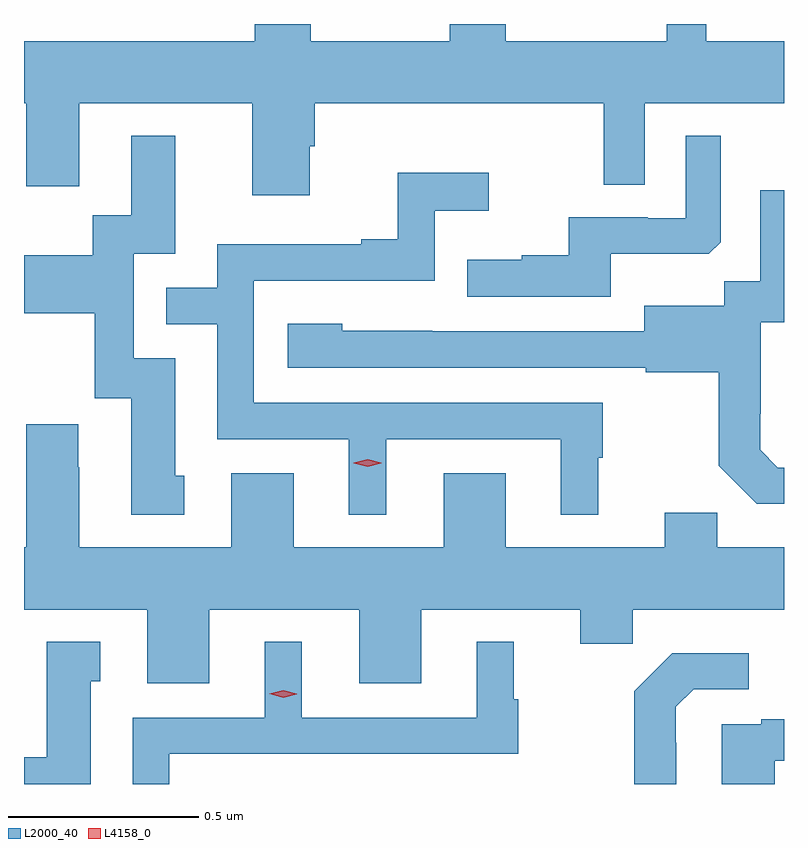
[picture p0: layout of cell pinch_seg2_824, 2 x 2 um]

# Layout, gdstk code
import gdstk
lib = gdstk.Library(unit=1e-6, precision=1e-09)
def P(c, l, *ps):  # polygons
    for p in ps: c.add(gdstk.Polygon(p, *l))
L2000_40 = (2000, 40)
L4158_0 = (4158, 0)

pinch_seg2_824 = lib.new_cell('pinch_seg2_824')
P(pinch_seg2_824, L2000_40, [(685.489,616.887),(685.502,616.887),(685.502,617),(686.262,617),(686.262,616.786),(686.37,616.786),(686.37,617),(686.737,617),(686.737,617.164),(686.533,617.164),(686.533,617.209),(686.429,617.209),(686.429,617.164),(686.005,617.164),(686.005,617.209),(685.858,617.209),(685.858,617.164),(685.491,617.164),(685.491,617.209),(685.344,617.209),(685.344,617.164),(684.737,617.164),(684.737,617),(684.743,617),(684.743,616.782),(684.883,616.782),(684.883,617),(685.337,617),(685.337,616.758),(685.489,616.758)],
  [(686.281,616.604),(686.539,616.604),(686.571,616.635),(686.571,616.915),(686.478,616.915),(686.478,616.698),(686.378,616.698),(686.378,616.701),(686.171,616.701),(686.171,616.6),(686.047,616.6),(686.047,616.588),(685.903,616.588),(685.903,616.491),(686.281,616.491)],
  [(685.159,616.02),(685.135,616.02),(685.135,616.329),(685.026,616.329),(685.026,616.605),(685.135,616.605),(685.135,616.915),(685.019,616.915),(685.019,616.706),(684.918,616.706),(684.918,616.6),(684.737,616.6),(684.737,616.448),(684.923,616.448),(684.923,616.224),(685.019,616.224),(685.019,615.918),(685.159,615.918)],
  [(685.69,616.116),(686.15,616.116),(686.15,615.917),(686.248,615.917),(686.248,616.068),(686.26,616.068),(686.26,616.212),(685.341,616.212),(685.341,616.533),(685.818,616.533),(685.818,616.718),(685.96,616.718),(685.96,616.817),(685.72,616.817),(685.72,616.642),(685.625,616.642),(685.625,616.629),(685.245,616.629),(685.245,616.515),(685.111,616.515),(685.111,616.419),(685.245,616.419),(685.245,616.116),(685.592,616.116),(685.592,615.917),(685.69,615.917)],
  [(686.737,616.041),(686.721,616.041),(686.674,616.088),(686.674,616.183),(686.676,616.183),(686.676,616.424),(686.737,616.424),(686.737,616.771),(686.675,616.771),(686.675,616.532),(686.58,616.532),(686.58,616.468),(686.369,616.468),(686.369,616.401),(685.811,616.401),(685.811,616.402),(685.575,616.402),(685.575,616.42),(685.431,616.42),(685.431,616.305),(686.373,616.305),(686.373,616.293),(686.565,616.293),(686.565,616.047),(686.665,615.947),(686.737,615.947)],
  [(685.225,615.668),(685.619,615.668),(685.619,615.474),(685.783,615.474),(685.783,615.668),(686.201,615.668),(686.201,615.578),(686.339,615.578),(686.339,615.668),(686.737,615.668),(686.737,615.832),(686.561,615.832),(686.561,615.923),(686.423,615.923),(686.423,615.832),(686.005,615.832),(686.005,616.027),(685.841,616.027),(685.841,615.832),(685.447,615.832),(685.447,616.027),(685.283,616.027),(685.283,615.832),(684.883,615.832),(684.883,616.043),(684.88,616.043),(684.88,616.156),(684.743,616.156),(684.743,615.832),(684.737,615.832),(684.737,615.668),(685.061,615.668),(685.061,615.474),(685.225,615.474)],
  [(685.119,615.288),(686.038,615.288),(686.038,615.432),(686.026,615.432),(686.026,615.583),(685.928,615.583),(685.928,615.384),(685.468,615.384),(685.468,615.583),(685.37,615.583),(685.37,615.384),(685.023,615.384),(685.023,615.209),(685.119,615.209)],
  [(684.913,615.48),(684.937,615.48),(684.937,615.583),(684.797,615.583),(684.797,615.279),(684.737,615.279),(684.737,615.209),(684.913,615.209)],
  [(686.454,615.317),(686.452,615.317),(686.452,615.412),(686.499,615.459),(686.644,615.459),(686.644,615.553),(686.443,615.553),(686.343,615.453),(686.343,615.209),(686.454,615.209)],
  [(686.713,615.27),(686.737,615.27),(686.737,615.379),(686.677,615.379),(686.677,615.366),(686.573,615.366),(686.573,615.209),(686.713,615.209)])
P(pinch_seg2_824, L4158_0, [(685.641,616.044),(685.605,616.053),(685.605,616.054),(685.605,616.054),(685.641,616.064),(685.677,616.054),(685.677,616.054),(685.677,616.053)],
  [(685.419,615.436),(685.383,615.447),(685.383,615.447),(685.383,615.447),(685.419,615.456),(685.455,615.446),(685.455,615.445),(685.455,615.445)])

lib.write_gds('pinch_seg2_824.gds')
